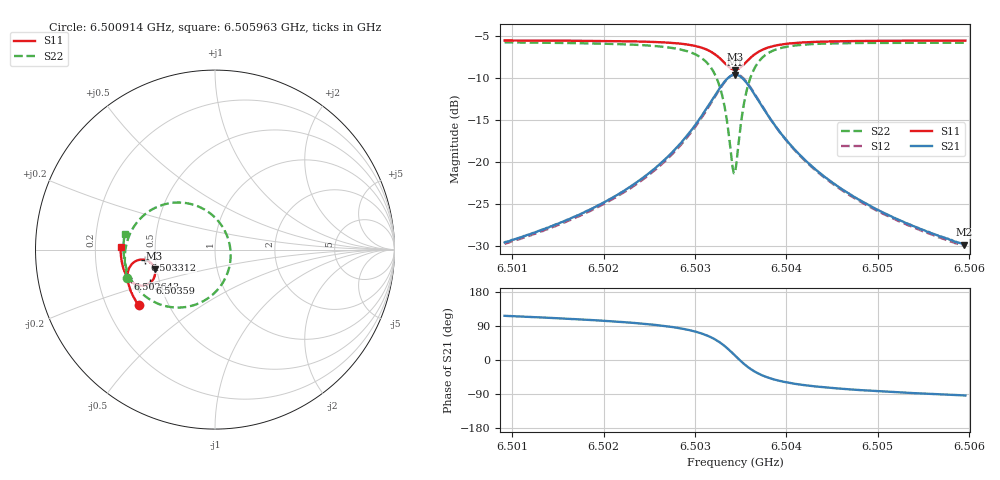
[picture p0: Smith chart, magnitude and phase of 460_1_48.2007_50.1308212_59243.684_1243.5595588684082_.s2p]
#  HZ  S  RI  R  50.00
! Rohde & Schwarz Vector Network Analyzer
! Rohde-Schwarz,ZNB20-2Port,1311601062101988,3.16
! Created: UTC 3/20/2024, 11:56:42 AM
! freq[Hz]  re:S11  im:S11  re:S21  im:S21  re:S12  im:S12  re:S22  im:S22
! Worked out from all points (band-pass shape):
!   401 points, 6.500914 GHz to 6.505963 GHz, reference 50 ohm
!   highest |S21| = -9.64 dB at 6.503438 GHz (marker M1); lowest = -29.8 dB at 6.50595 GHz (marker M2)
!   |S21| within 3 dB of the highest: 6.503186 GHz to 6.503691 GHz (505 kHz wide, 0.00776 % of centre)
!   lowest |S11| = -9.0 dB at 6.503438 GHz (marker M3), VSWR 2.09, Z = 24.3 - j5.91 ohm
!   |S11| at or under -10 dB: nowhere
!   |S22| runs from -21.3 to -5.8 dB; largest |S21 - S12| = 0.012
!   S11 on the Smith chart (normalised r, x): 6.500914 GHz: 0.34, -0.29; 6.502643 GHz: 0.33, -0.14; 6.503312 GHz: 0.44, -0.06; 6.50359 GHz: 0.44, -0.20; 6.505963 GHz: 0.31, +0.01
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6.500914e9  -0.425 -0.3108  -0.015 0.0298  -0.0132 0.0299  -0.4884 -0.1584
6.5017597e9  -0.4614 -0.2486  -0.0144 0.0474  -0.0119 0.0471  -0.5021 -0.0692
6.5022519e9  -0.4788 -0.2049  -0.0111 0.0683  -0.00804 0.0672  -0.4988 0.00102
6.5026053e9  -0.487 -0.1657  -0.0024 0.0963  0.00139 0.0939  -0.4805 0.072
6.5026432e9  -0.4874 -0.1608  -0.000804 0.1004  0.0031 0.098  -0.4767 0.0812
6.5029208e9  -0.4835 -0.1179  0.0258 0.1429  0.0296 0.1384  -0.4215 0.1671
6.5031101e9  -0.4624 -0.0797  0.0797 0.1849  0.0824 0.1787  -0.3185 0.2397
6.5032237e9  -0.4298 -0.059  0.1485 0.2026  0.1497 0.1961  -0.1943 0.2623
6.5033121e9  -0.3894 -0.0572  0.228 0.1867  0.2285 0.1815  -0.0572 0.2224
6.503413e9  -0.3432 -0.0915  0.3126 0.0997  0.3154 0.0947  0.0755 0.053
6.5034383e9  -0.3367 -0.1062  0.3228 0.0675  0.3262 0.0615  0.0867 -0.00723
6.5034635e9  -0.3337 -0.1219  0.3266 0.0337  0.3303 0.0266  0.085 -0.0688
6.5035266e9  -0.3407 -0.1593  0.3087 -0.0444  0.3107 -0.0547  0.0297 -0.2047
6.5035897e9  -0.362 -0.1854  0.2655 -0.0989  0.2646 -0.1104  -0.0671 -0.2882
6.5036907e9  -0.4018 -0.2008  0.1907 -0.1352  0.1853 -0.1451  -0.2178 -0.323
6.5038548e9  -0.4481 -0.1912  0.1088 -0.1324  0.1017 -0.1375  -0.3654 -0.2762
6.5040315e9  -0.4756 -0.1699  0.0641 -0.1121  0.0577 -0.1145  -0.4378 -0.2113
6.5042839e9  -0.4962 -0.1399  0.034 -0.0877  0.0292 -0.0882  -0.4813 -0.139
6.5046752e9  -0.5123 -0.0992  0.0145 -0.064  0.0112 -0.0636  -0.5041 -0.0621
6.5051295e9  -0.5211 -0.0573  0.00515 -0.0479  0.00275 -0.0472  -0.5101 0.00136
6.5059499e9  -0.5259 0.0121  -0.00198 -0.0323  -0.00345 -0.0316  -0.5024 0.0881
6.5059625e9  -0.5259 0.0132  -0.00213 -0.0323  -0.00341 -0.0315  -0.5021 0.0893
